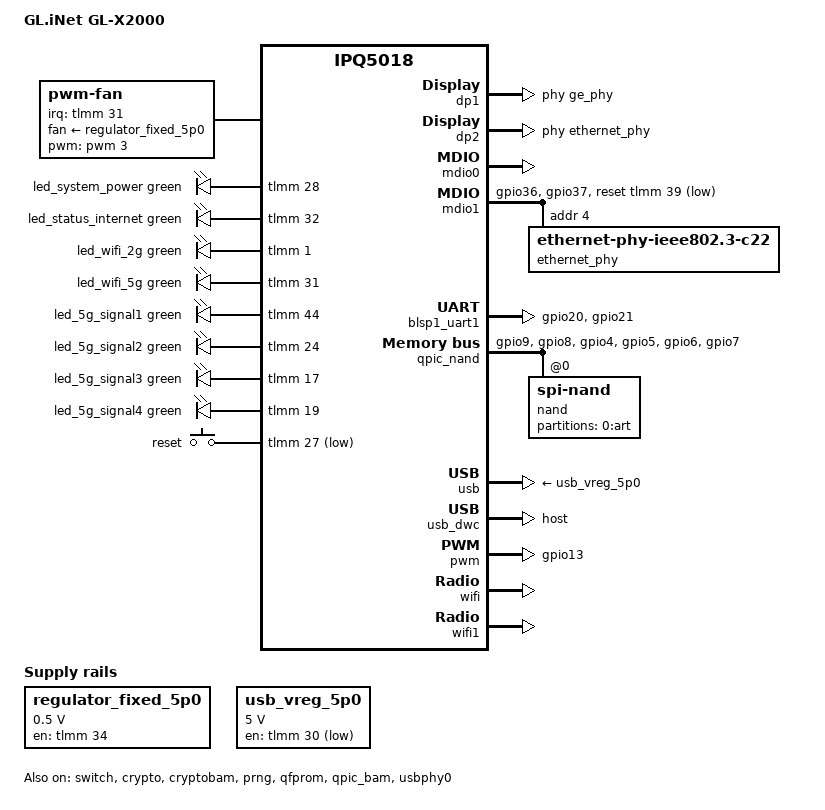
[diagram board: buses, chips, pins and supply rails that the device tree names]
/dts-v1/;

#include "ipq5018.dtsi"
#include "ipq5018-ess.dtsi"
#include "ipq5018-qcn6122.dtsi"

#include <dt-bindings/gpio/gpio.h>
#include <dt-bindings/input/input.h>
#include <dt-bindings/leds/common.h>

/ {
	model = "GL.iNet GL-X2000";
	compatible = "glinet,gl-x2000", "qcom,ipq5018";

	aliases {
		serial0 = &blsp1_uart1;
		serial1 = &blsp1_uart2;
		ethernet0 = &dp1;
		ethernet1 = &dp2;
		label-mac-device = &dp2;
		led-boot = &led_system_power;
		led-failsafe = &led_status_internet;
		led-running = &led_status_internet;
		led-upgrade = &led_system_power;
	};

	chosen {
		bootargs-append = " root=/dev/ubiblock0_2 swiotlb=1 coherent_pool=2M";
		stdout-path = "serial0:115200n8";
	};
    
	fan: pwm-fan {
		compatible = "pwm-fan";
		pinctrl-0 = <&fan_pins>;
		pinctrl-names = "default";
		fan-supply = <&regulator_fixed_5p0>;
		interrupt-parent = <&tlmm>;
		interrupts = <31 IRQ_TYPE_EDGE_RISING>;
		cooling-levels = <36 128 192 255>;
		#cooling-cells = <2>;
		pwms = <&pwm 3 40000 0>;
	};

	leds {
		compatible = "gpio-leds";
		pinctrl-0 = <&leds_pins>;
		pinctrl-names = "default";

		led_system_power: led_system_power {
			function = LED_FUNCTION_POWER;
			color = <LED_COLOR_ID_GREEN>;
			gpios = <&tlmm 28 GPIO_ACTIVE_HIGH>;
			default-state = "on";
		};

		led_status_internet: led_status_internet {
			function = LED_FUNCTION_STATUS;
			color = <LED_COLOR_ID_GREEN>;
			gpios = <&tlmm 32 GPIO_ACTIVE_HIGH>;
			default-state = "off";
		};

		led_wifi_2g {
			function = LED_FUNCTION_WLAN_2GHZ;
			color = <LED_COLOR_ID_GREEN>;
			function-enumerator = <2>;
			gpios = <&tlmm 1 GPIO_ACTIVE_HIGH>;
			default-state = "off";
		};

		led_wifi_5g {
			function = LED_FUNCTION_WLAN_5GHZ;
			color = <LED_COLOR_ID_GREEN>;
			function-enumerator = <5>;
			gpios = <&tlmm 31 GPIO_ACTIVE_HIGH>;
			default-state = "off";
		};

		led_5g_signal1 {
			function = LED_FUNCTION_INDICATOR;
			color = <LED_COLOR_ID_GREEN>;
			function-enumerator = <1>;
			gpios = <&tlmm 44 GPIO_ACTIVE_HIGH>;
			default-state = "off";
		};

		led_5g_signal2 {
			function = LED_FUNCTION_INDICATOR;
			color = <LED_COLOR_ID_GREEN>;
			function-enumerator = <2>;
			gpios = <&tlmm 24 GPIO_ACTIVE_HIGH>;
			default-state = "off";
		};

		led_5g_signal3 {
			function = LED_FUNCTION_INDICATOR;
			color = <LED_COLOR_ID_GREEN>;
			function-enumerator = <3>;
			gpios = <&tlmm 17 GPIO_ACTIVE_HIGH>;
			default-state = "off";
		};

		led_5g_signal4 {
			function = LED_FUNCTION_INDICATOR;
			color = <LED_COLOR_ID_GREEN>;
			function-enumerator = <4>;
			gpios = <&tlmm 19 GPIO_ACTIVE_HIGH>;
			default-state = "off";
		};
	};

	keys {
		compatible = "gpio-keys";
		pinctrl-0 = <&button_pins>;
		pinctrl-names = "default";

		button_reset {
			label = "reset";
			gpios = <&tlmm 27 GPIO_ACTIVE_LOW>;
			linux,input-type = <EV_KEY>;
			linux,code = <KEY_RESTART>;
			debounce-interval = <60>;
		};
	};

	regulator_fixed_5p0: regulator-s0500 {
		compatible = "regulator-fixed";
		regulator-min-microvolt = <500000>;
		regulator-max-microvolt = <500000>;
		regulator-name = "regulator_fixed_5p0";
		gpio = <&tlmm 34 GPIO_ACTIVE_LOW>;
		enable-active-high;
		regulator-boot-on;
	};

	usb_vreg_5p0: usb-vreg-5p0 {
		compatible = "regulator-fixed";
		regulator-min-microvolt = <5000000>;
		regulator-max-microvolt = <5000000>;
		regulator-name = "vbus_reg";
		gpios = <&tlmm 30 GPIO_ACTIVE_LOW>;
	};
};

/*
* =================================================================
*     _______________________             ____________
*    |        IPQ5018        |           |            |
*    | +------+   +--------+ |           | +--------+ |
*    | | MAC0 |---| GE Phy |-+--- MDI ---+ | RJ45   | +
*    | +------+   +--------+ |           | +--------+ |
*    |                       |           |____________|
*    |                       |            _______________________
*    |                       |           |       Unknown Phy     |
*    | +------+   +--------+ |           | +--------+   +------+ |
*    | | MAC1 |---| Uniphy |-+-- SGMII---+ | Phy    |---| RJ45 | |
*    | +------+   +--------+ |           | +--------+   +------+ |
*    |_______________________|           |_______________________|
*
* =================================================================
 */

&switch {
	status = "okay";

	switch_mac_mode = <MAC_MODE_SGMII_CHANNEL0>;

	qcom,port_phyinfo {
		// MAC0 -> GE Phy -> MDI --> RJ45
		port@1 {
			port_id = <1>;
			mdiobus = <&mdio0>;
			phy_address = <7>;
		};

		// MAC1 ---SGMII---> Unknown PHY -> RJ45
		port@2 {
			port_id = <2>;
			mdiobus = <&mdio1>;
			phy_address = <4>;
		};
	};
};

// MAC0 ---MDI---> IPQ5018 GE PHY
&dp1 {
	status = "okay";

	label = "wan";
	phy-handle = <&ge_phy>;
	nvmem-cells = <&macaddr_dp2>;
	nvmem-cell-names = "mac-address";
};

// MAC1 ---SGMII---> Ethernet Phy
&dp2 {
	status = "okay";

	label = "lan";
	phy-handle = <&ethernet_phy>;
	nvmem-cells = <&macaddr_dp2 1>;
	nvmem-cell-names = "mac-address";
};

&mdio0 {
	status = "okay";
};

&mdio1 {
	status = "okay";

	pinctrl-0 = <&mdio1_pins>;
	pinctrl-names = "default";
	reset-gpios = <&tlmm 39 GPIO_ACTIVE_LOW>;

	// Ethernet PHY
	ethernet_phy: ethernet-phy@4 {
		compatible = "ethernet-phy-ieee802.3-c22";
		reg = <4>;
	};
};

&sleep_clk {
	clock-frequency = <32000>;
};

&xo_board_clk {
	clock-div = <4>;
	clock-mult = <1>;
};

&blsp1_uart1 {
 	status = "okay";

	pinctrl-0 = <&serial_0_pins>;
	pinctrl-names = "default";
};

&crypto {
	status = "okay";
};

&cryptobam {
	status = "okay";
};

&prng {
	status = "okay";
};

&qfprom {
	status = "okay";
};

&qpic_bam {
	status = "okay";
};

&qpic_nand {
	pinctrl-0 = <&qpic_pins>;
	pinctrl-names = "default";
	status = "okay";

	nand@0 {
		compatible = "spi-nand";
		reg = <0>;
		nand-ecc-engine = <&qpic_nand>;
		nand-bus-width = <8>;

		partitions {
			compatible = "qcom,smem-part";

			partition-0-art {
				label = "0:art";
				read-only;

				nvmem-layout {
					compatible = "fixed-layout";
					#address-cells = <1>;
					#size-cells = <1>;

					macaddr_dp2: macaddr@0 {
						compatible = "mac-base";
						#nvmem-cell-cells = <1>;
						reg = <0x6 0x6>;
					};
				};
			};
		};
	};
};

&tlmm {
	blsp0_spi_pins: blsp0_spi_pins {
		pins = "gpio10", "gpio11";
		function = "blsp0_spi";
		drive-strength = <2>;
		bias-disable;
	};

	button_pins: button_pins {
		button_reset {
			pins = "gpio27";
			function = "gpio";
			drive-strength = <8>;
			bias-pull-up;
		};
	};

	cellular_pins: cellular_pins {
		cellular_en {
			pins = "gpio12";
			function = "gpio";
			drive-strength = <8>;
			bias-disable;
			output-low;
		};

		cellular_reset {
			pins = "gpio22";
			function = "gpio";
			drive-strength = <8>;
			bias-disable;
			output-low;
		};

		cellular_power {
			pins = "gpio38";
			function = "gpio";
			drive-strength = <8>;
			bias-disable;
			output-low;
		};
	};

	fan_pins: fan_pins {
		pwr {
			pins = "gpio34";
			function = "gpio";
			output-high;
		};

		speed {
			pins = "gpio26";
			function = "gpio";
			drive-strength = <8>;
			bias-disable;
		};
	};
	
	leds_pins: leds_pins {
		led_system_power {
			pins = "gpio28";
			function = "gpio";
			drive-strength = <8>;
			bias-pull-down;
		};

		led_status_internet {
			pins = "gpio32";
			function = "gpio";
			drive-strength = <8>;
			bias-pull-down;
		};

		wlan2g {
			pins = "gpio1";
			function = "gpio";
			drive-strength = <8>;
			bias-pull-down;
		};

		wlan5g {
			pins = "gpio31";
			function = "gpio";
			drive-strength = <8>;
			bias-pull-down;
		};

		lte1 {
			pins = "gpio44";
			function = "gpio";
			drive-strength = <8>;
			bias-pull-down;
		};

		lte2 {
			pins = "gpio24";
			function = "gpio";
			drive-strength = <8>;
			bias-pull-down;
		};

		lte3 {
			pins = "gpio17";
			function = "gpio";
			drive-strength = <8>;
			bias-pull-down;
		};

		lte4 {
			pins = "gpio19";
			function = "gpio";
			drive-strength = <8>;
			bias-pull-down;
		};
	};

	mdio1_pins: mdio-state {
		mdc-pins {
			pins = "gpio36";
			function = "mdc";
			drive-strength = <8>;
			bias-pull-up;
		};

		mdio-pins {
			pins = "gpio37";
			function = "mdio";
			drive-strength = <8>;
			bias-pull-up;
		};
	};

	pwm_pins: pwm_pinmux {
		mux {
			pins = "gpio13";
			function = "gpio";
			drive-strength = <8>;
		};
	};
	
	qpic_pins: qpic-state {
		clock-pins {
			pins = "gpio9";
			function = "qspi_clk";
			drive-strength = <8>;
			bias-disable;
		};

		cs-pins {
			pins = "gpio8";
			function = "qspi_cs";
			drive-strength = <8>;
			bias-disable;
		};

		data-pins {
			pins = "gpio4", "gpio5", "gpio6", "gpio7";
			function = "qspi_data";
			drive-strength = <8>;
			bias-disable;
		};
	};

	serial_0_pins: uart0-state {
		pins = "gpio20", "gpio21";
		function = "blsp0_uart0";
		bias-disable;
	};

	usbhub_pins: usbhub_pins {
		hub_reset {
			pins = "gpio33";
			function = "gpio";
			drive-strength = <8>;
			bias-disable;
			output-high;
		};
	};
};

&usb {
	status = "okay";

	vbus-supply = <&usb_vreg_5p0>;
	qcom,select-utmi-as-pipe-clk;
};

&usb_dwc {
	dr_mode = "host";
};

&usbphy0 {
	status = "okay";

	vdd-supply = <&usb_vreg_5p0>;
};

&pwm {
    pinctrl-0 = <&pwm_pins>;
    pinctrl-names = "default";
    status = "okay";
};

&wifi {
	status = "okay";

	qcom,rproc = <&q6_wcss_pd1>;
	qcom,ath11k-calibration-variant = "GL-iNet-GL-X2000";
	qcom,ath11k-fw-memory-mode = <1>;
	qcom,bdf-addr = <0x4c400000>;
};

&wifi1 {
	status = "okay";
	
	qcom,rproc = <&q6_wcss_pd3>;
	qcom,userpd-subsys-name = "q6v5_wcss_userpd3";
	qcom,ath11k-calibration-variant = "GL-iNet-GL-X2000";
	qcom,ath11k-fw-memory-mode = <1>;
	qcom,bdf-addr = <0x4d100000>;
	qcom,m3-dump-addr = <0x4df00000>;
};
